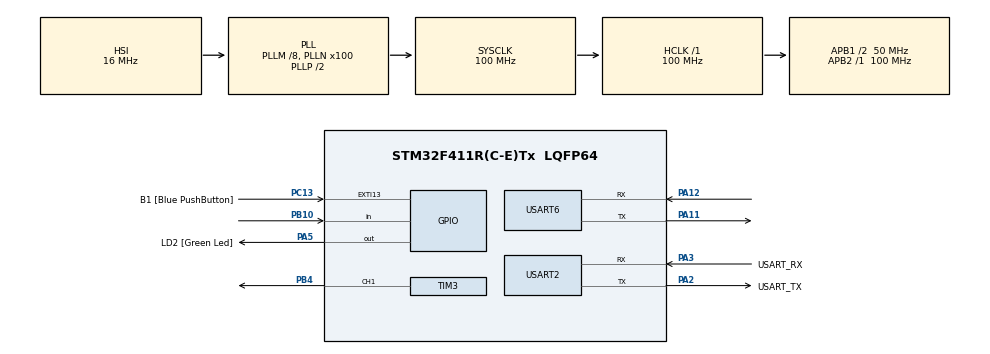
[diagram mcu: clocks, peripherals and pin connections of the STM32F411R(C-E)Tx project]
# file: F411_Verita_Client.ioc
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ADC1.Channel-0\#ChannelRegularConversion=ADC_CHANNEL_TEMPSENSOR
ADC1.ClockPrescaler=ADC_CLOCK_SYNC_PCLK_DIV8
ADC1.ContinuousConvMode=ENABLE
ADC1.DiscontinuousConvMode=DISABLE
ADC1.EOCSelection=ADC_EOC_SEQ_CONV
ADC1.NbrOfConversion=1
ADC1.NbrOfConversionFlag=1
ADC1.Rank-0\#ChannelRegularConversion=1
ADC1.SamplingTime-0\#ChannelRegularConversion=ADC_SAMPLETIME_480CYCLES
ADC1.ScanConvMode=ENABLE
ADC1.master=1
Dma.Request0=USART6_RX
Dma.USART6_RX.0.Direction=DMA_PERIPH_TO_MEMORY
Dma.USART6_RX.0.FIFOMode=DMA_FIFOMODE_DISABLE
Dma.USART6_RX.0.Instance=DMA2_Stream1
Dma.USART6_RX.0.MemDataAlignment=DMA_MDATAALIGN_BYTE
Dma.USART6_RX.0.MemInc=DMA_MINC_ENABLE
Dma.USART6_RX.0.Mode=DMA_CIRCULAR
Dma.USART6_RX.0.PeriphDataAlignment=DMA_PDATAALIGN_BYTE
Dma.USART6_RX.0.PeriphInc=DMA_PINC_DISABLE
Dma.USART6_RX.0.Priority=DMA_PRIORITY_HIGH
Mcu.Family=STM32F4
Mcu.Name=STM32F411R(C-E)Tx
Mcu.Package=LQFP64
NVIC.DMA2_Stream1_IRQn=true\:0\:0\:false\:false\:true\:false\:true\:true
NVIC.EXTI15_10_IRQn=true\:0\:0\:false\:false\:true\:true\:true\:true
NVIC.PriorityGroup=NVIC_PRIORITYGROUP_0
PA11.Mode=Asynchronous
PA11.Signal=USART6_TX
PA12.Mode=Asynchronous
PA12.Signal=USART6_RX
PA13.GPIO_Label=TMS
PA13.Mode=Serial_Wire
PA13.Signal=SYS_JTMS-SWDIO
PA14.GPIO_Label=TCK
PA14.Mode=Serial_Wire
PA14.Signal=SYS_JTCK-SWCLK
PA2.GPIO_Label=USART_TX
PA2.Mode=Asynchronous
PA2.Signal=USART2_TX
PA3.GPIO_Label=USART_RX
PA3.Mode=Asynchronous
PA3.Signal=USART2_RX
PA5.GPIO_Label=LD2 [Green Led]
PA5.Signal=GPIO_Output
PB10.GPIO_PuPd=GPIO_PULLDOWN
PB10.Signal=GPIO_Input
PB3.GPIO_Label=SWO
PB3.Signal=SYS_JTDO-SWO
PB4.Signal=S_TIM3_CH1
PC13-ANTI_TAMP.GPIO_Label=B1 [Blue PushButton]
PC13-ANTI_TAMP.GPIO_ModeDefaultEXTI=GPIO_MODE_IT_FALLING
PC13-ANTI_TAMP.Signal=GPXTI13
PC14-OSC32_IN.Mode=LSE-External-Oscillator
PC14-OSC32_IN.Signal=RCC_OSC32_IN
PC15-OSC32_OUT.Mode=LSE-External-Oscillator
PC15-OSC32_OUT.Signal=RCC_OSC32_OUT
PH0\ -\ OSC_IN.Mode=HSE-External-Clock-Source
PH0\ -\ OSC_IN.Signal=RCC_OSC_IN
PH1\ -\ OSC_OUT.Mode=HSE-External-Clock-Source
PH1\ -\ OSC_OUT.Signal=RCC_OSC_OUT
ProjectManager.HeapSize=0x200
ProjectManager.StackSize=0x400
ProjectManager.TargetToolchain=STM32CubeIDE
RCC.48MHZClocksFreq_Value=50000000
RCC.AHBFreq_Value=100000000
RCC.APB1CLKDivider=RCC_HCLK_DIV2
RCC.APB1Freq_Value=50000000
RCC.APB1TimFreq_Value=100000000
RCC.APB2Freq_Value=100000000
RCC.APB2TimFreq_Value=100000000
RCC.CortexFreq_Value=100000000
RCC.FLatency-AdvancedSettings=FLASH_LATENCY_3
RCC.HCLKFreq_Value=100000000
RCC.HSE_VALUE=8000000
RCC.HSI_VALUE=16000000
RCC.PLLM=8
RCC.PLLN=100
RCC.SYSCLKFreq_VALUE=100000000
RCC.SYSCLKSource=RCC_SYSCLKSOURCE_PLLCLK
RCC.VCOOutputFreq_Value=200000000
SH.S_TIM3_CH1.0=TIM3_CH1,PWM Generation1 CH1
TIM3.AutoReloadPreload=TIM_AUTORELOAD_PRELOAD_ENABLE
TIM3.Channel-PWM\ Generation1\ CH1=TIM_CHANNEL_1
TIM3.Period=9999
TIM3.Prescaler=9999
TIM3.Pulse-PWM\ Generation1\ CH1=5000
USART2.VirtualMode=VM_ASYNC
USART6.VirtualMode=VM_ASYNC
VP_ADC1_TempSens_Input.Mode=IN-TempSens
VP_TIM3_VS_ClockSourceINT.Mode=Internal
board=NUCLEO-F411RE

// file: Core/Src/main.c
/* USER CODE BEGIN Header */
/**
  ******************************************************************************
  * @file           : main.c
  * @brief          : Main program body
  ******************************************************************************
  * @attention
  *
  * Copyright (c) 2023 STMicroelectronics.
  * All rights reserved.
  *
  * This software is licensed under terms that can be found in the LICENSE file
  * in the root directory of this software component.
  * If no LICENSE file comes with this software, it is provided AS-IS.
  *
  ******************************************************************************
  */

  /* ================ FRA506_Independent Study =================================
   * ================ VERITA: Nucleo F411RE Tester ====  --->>>  Client  >>>----
   *
   * Author: owl_hor, FRAB#7 @FIBO KMUTT
   * Advisor: Pittiwut Teerakittikul, Ph.D & Puttinart Archewawanich (AlphaP2712)
   * --------------------------------------------------------------------------
   *  ===== peripheral Usage (Last update: 7 Mar 2023) ===========
   *  - [ADC1]   -> Read MCU's temperature
   *  - [USART6] -> Verita protocol [Master <-> Client]
   *
   * ================ pin GPIO Usage ===========
  */

/* USER CODE END Header */
#include "main.h"

/* USER CODE BEGIN Includes */
#include <stdio.h>
#include <string.h>

#include "gpio_testscript.h"
#include "Verita_PTC.h"
/* USER CODE END Includes */

/* USER CODE BEGIN PD */
#define FIRMWARE_VER 0x13280723 // 01 00 03 23  -- ver day month year 32-bit
//#define TIMx_PWM_En
//#define GPIO_SELFTEST_SC
/* USER CODE END PD */

ADC_HandleTypeDef hadc1;

TIM_HandleTypeDef htim3;

UART_HandleTypeDef huart2;
UART_HandleTypeDef huart6;
DMA_HandleTypeDef hdma_usart6_rx;

/* USER CODE BEGIN PV */
typedef struct{
	ADC_ChannelConfTypeDef Confix;
	uint16_t datt;
}ADCStructure;

ADCStructure ADCChannell[1];

uint16_t cputmpraw = 0;
float cputempCC = 0;

uint8_t bluecounter = 0;
uint8_t counter_flagger = 0; // countif testscript is runned
uint8_t cnt_allpass = 0;
uint32_t timestamp_one = 0;
uint32_t timestamp_selftestdelay = 0;

//// --------- GPIO Read Buffer --------
//uint32_t temp_mode, temp_pupdr;
//uint16_t gpio_C_rd[4] = {0};
//uint32_t gpio_xpupd_rd[4] = {0};
//uint32_t gpio_xopp[3] = {0};
//uint32_t gpio_xood[3] = {0};

uint32_t gpio_rec_mode[3] = {0};
uint32_t gpio_rec_pupdr[3] = {0};

uint8_t flag_gpioselftest = 0;

//// lists All port - pin to inspect first // avoid special pin like osilators / UART
//// GPIO_PIN_x is in bit position format (0 2 4 8 16 ...) which loss if stored in that form and log2() to calculate back
uint16_t List_GPIOA[] = {0,1,    4,5,6,7,8,9,10,            15,  20}; // 2,3 STLK RXTX / 11 12 VRT MTxCL / 13 14 TMS TCK / 9, 10 Master UART_BL High Affect
uint16_t List_GPIOB[] = {0,1,2,  4,5,6,7,8,9,10,   12,13,14,15,  20}; // 11 is Vcap
uint16_t List_GPIOC[] = {0,1,2,3,4,5,6,7,8,9,10,11,12,13,        20};

char WR_A_PUPDR[40] = "\r\nA_PUR: "; ////
char WR_B_PUPDR[40] = "\r\nB_PUR: ";
char WR_C_PUPDR[40] = "\r\nC_PUR: ";
char WR_A_OPP[40]   = "\r\nA_OPP: "; ////
char WR_B_OPP[40]   = "\r\nB_OPP: ";
char WR_C_OPP[40]   = "\r\nC_OPP: ";
char WR_A_OOD[40]   = "\r\nA_OOD: ";
char WR_B_OOD[40]   = "\r\nB_OOD: ";
char WR_C_OOD[40]   = "\r\nC_OOD: ";

//// --------- ============== Verita PTC Register ============== ------------
Verita_Register_Bank VR_Cli;
uint8_t RxBufferMtCl[RxbufferSize_VRT] = {0}; // Recieved packet buffer

VRTPTC_StatusTypedef rslt;

//// ----------------------  UART Buffer  -------------------
char uartTXBf[100] = {0};

//char TxBufferMtCl[50] = {0}; // Sent some results to master
/* USER CODE END PV */

void SystemClock_Config(void);
static void MX_GPIO_Init(void);
static void MX_DMA_Init(void);
static void MX_USART2_UART_Init(void);
static void MX_ADC1_Init(void);
static void MX_TIM3_Init(void);
static void MX_USART6_UART_Init(void);
/* USER CODE BEGIN PFP */
void CPUTemprdINIT();
uint16_t CPUTempread();
float ADCTVolta(uint16_t btt);
float TempEquat(float Vs);

void GPIO_Selftest_step_1_single();
void Compare_pin();
void Compare_pin_32(uint32_t raw32, uint16_t *Lista_GPIOx, uint8_t gpst, char *outchar);
void resetgpio_char();
void CheckAllPass();
//void Tx_UART_Verita_Packet_u8(UART_HandleTypeDef *huart, uint8_t regis,uint8_t *pdata, uint8_t size);
//void Tx_UART_Verita_Packet_u32(UART_HandleTypeDef *huart, uint8_t regis,uint32_t pdata);
/* USER CODE END PFP */

int main(void)
{

  /* MCU Configuration--------------------------------------------------------*/

  /* Reset of all peripherals, Initializes the Flash interface and the Systick. */
  HAL_Init();

  /* Configure the system clock */
  SystemClock_Config();

  /* Initialize all configured peripherals */
  MX_GPIO_Init();
  MX_DMA_Init();
  MX_USART2_UART_Init();
  MX_ADC1_Init();
  MX_TIM3_Init();
  MX_USART6_UART_Init();
  /* USER CODE BEGIN 2 */

  CPUTemprdINIT();

  char temp[]="----------------- F411_Verita_Client --------------------\r\n";
  HAL_UART_Transmit(&huart2, (uint8_t*)temp, strlen(temp),10);

  sprintf(uartTXBf, "Firmware ver: %08X \r\n ", FIRMWARE_VER);
  HAL_UART_Transmit(&huart2, (uint8_t*)uartTXBf, strlen(uartTXBf),10);

  ////  ------------- UART Recieve : Circular DMA here--------------------------
  HAL_UART_Receive_DMA(&huart6, &RxBufferMtCl[0], RxbufferSize_VRT);

  VR_Cli.Mark.FirmwareVer = FIRMWARE_VER;

   //GPIOB->MODER = 0x100680;

//   uint32_t tyyy = GPIOB->MODER;
//   tyyy &= ~( 0b11 << (5 * 2U));
//   tyyy &= ~( 0b11 << (10 * 2U));
//   tyyy |= ( GPIO_MODE_OUTPUT_PP << (5 * 2U));
//   tyyy |= ( GPIO_MODE_OUTPUT_PP << (10 * 2U));
//   GPIOB->MODER = tyyy;

#ifdef TIMx_PWM_En
  HAL_TIM_Base_Start(&htim3);
  HAL_TIM_PWM_Start(&htim3, TIM_CHANNEL_1);
#endif

  /* USER CODE END 2 */

  /* Infinite loop */
  /* USER CODE BEGIN WHILE */
  while (1)
  {

	  //rslt = Rx_Verita_engine(RxBufferMtCl, &VR_Cli);
	  //Tx_Rq_Verita_engine(&huart6, &VR_Cli);
	  ////  ------------- UART Recieve : Normal DMA --------------------------
	  //HAL_UART_Receive_DMA(&huart6, &RxBufferMtCl[0], 9);

	  if(HAL_GetTick() >= timestamp_one){
		  timestamp_one += 1000;

		  HAL_GPIO_TogglePin(LD2_GPIO_Port, LD2_Pin);

		  cputmpraw = CPUTempread();
		  VR_Cli.Mark.cputemp = CPUTempread();

		  cputempCC = TempEquat(ADCTVolta(cputmpraw));

		  sprintf(uartTXBf, "\r\n - - - - - - - - VERITA - - - F411RE - - - - - - - - - - - -\r\n");
		  HAL_UART_Transmit(&huart2, (uint8_t*)uartTXBf, strlen(uartTXBf),10);

		  sprintf(uartTXBf, "cputempraw : %d => %.3f C\r\n ",
				  cputmpraw,
				  cputempCC);
		  HAL_UART_Transmit(&huart2, (uint8_t*)uartTXBf, strlen(uartTXBf),10);

		  //// Print GPIO Test Result
		  if(counter_flagger){
			  if(cnt_allpass >= 9){
				  //// there're 9 pass
				  sprintf(uartTXBf, "\r\n+++ GPIO ALL PASS +++\r\n"); HAL_UART_Transmit(&huart2, (uint8_t*)uartTXBf, strlen(uartTXBf),10);
			  }else{
				  sprintf(uartTXBf, "\r\n--- GPIO unhealthy ---\r\n"); HAL_UART_Transmit(&huart2, (uint8_t*)uartTXBf, strlen(uartTXBf),10);
			  }

			  sprintf(uartTXBf, WR_A_PUPDR); HAL_UART_Transmit(&huart2, (uint8_t*)uartTXBf, strlen(uartTXBf),10);

			  sprintf(uartTXBf, WR_A_OPP); HAL_UART_Transmit(&huart2, (uint8_t*)uartTXBf, strlen(uartTXBf),10);

			  sprintf(uartTXBf, WR_A_OOD); HAL_UART_Transmit(&huart2, (uint8_t*)uartTXBf, strlen(uartTXBf),10);

			  sprintf(uartTXBf, WR_B_PUPDR); HAL_UART_Transmit(&huart2, (uint8_t*)uartTXBf, strlen(uartTXBf),10);

			  sprintf(uartTXBf, WR_B_OPP); HAL_UART_Transmit(&huart2, (uint8_t*)uartTXBf, strlen(uartTXBf),10);

			  sprintf(uartTXBf, WR_B_OOD); HAL_UART_Transmit(&huart2, (uint8_t*)uartTXBf, strlen(uartTXBf),10);

			  sprintf(uartTXBf, WR_C_PUPDR); HAL_UART_Transmit(&huart2, (uint8_t*)uartTXBf, strlen(uartTXBf),10);

			  sprintf(uartTXBf, WR_C_OPP); HAL_UART_Transmit(&huart2, (uint8_t*)uartTXBf, strlen(uartTXBf),10);

			  sprintf(uartTXBf, WR_C_OOD); HAL_UART_Transmit(&huart2, (uint8_t*)uartTXBf, strlen(uartTXBf),10);
		  }

//		  HAL_GPIO_TogglePin(GPIOB, GPIO_PIN_5);
//		  gpio_C_rd[3] = HAL_GPIO_ReadPin(GPIOB, GPIO_PIN_10);
		  //HAL_GPIO_TogglePin(GPIOA, GPIO_PIN_9);

	  }

	  if(flag_gpioselftest){

		  //// ---------- Verita send 1 set --------------------------
//		  static uint8_t gg = 0x66;
//		  static uint8_t rg = 0x03;
//		  uint8_t ggg[4] = {0x00, 0x11, 0x33, gg};
//		  Tx_UART_Verita_Packet_u8(&huart6, rg, ggg, sizeof(ggg));
//
//		  gg++; rg++;
//
//		  Tx_UART_Verita_Packet_u32(&huart6, VR_FWID, (uint32_t)FIRMWARE_VER);
//
//		  Tx_UART_Verita_Packet_u32(&huart6, 0x92, (uint32_t)0x00FF00AA);
//		  Tx_UART_Verita_Packet_u32(&huart6, 0x13, 0x12); //// data request
		  //// ------- old script ------------------

		  //VR_Cli.Mark.Flag_ger = 0x02;
		  //// delay wait for button release
		  if (HAL_GetTick() >= timestamp_selftestdelay){
			  VR_Cli.Mark.Flag_ger = VRF_GPIO_Runalltest;
			  flag_gpioselftest = 0;
		  }

	  }

	  //// Flag run all test
	  if(VR_Cli.Mark.Flag_ger == VRF_GPIO_Runalltest){
		  counter_flagger++;

		  ////record default GPIO setup before modified in testscript
		  gpio_rec_mode[0] = GPIOA->MODER;
		  gpio_rec_pupdr[0] = GPIOA->PUPDR;

		  //// Run GPIO Testscript all here or run before While
		  VR_Cli.Mark.PA_PUPDR = gpio_selftest_input_pupdr_1(GPIOA, List_GPIOA);
		  VR_Cli.Mark.PB_PUPDR = gpio_selftest_input_pupdr_1(GPIOB, List_GPIOB);
		  VR_Cli.Mark.PC_PUPDR = gpio_selftest_input_pupdr_1(GPIOC, List_GPIOC);

		  HAL_Delay(5);

		  VR_Cli.Mark.PA_OUT_PP = gpio_selftest_output_pp_1(GPIOA, List_GPIOA);
		  VR_Cli.Mark.PB_OUT_PP = gpio_selftest_output_pp_1(GPIOB, List_GPIOB);
		  VR_Cli.Mark.PC_OUT_PP = gpio_selftest_output_pp_1(GPIOC, List_GPIOC);

		  HAL_Delay(5);

		  VR_Cli.Mark.PA_OUT_OD = gpio_selftest_output_od_1(GPIOA, List_GPIOA);
		  VR_Cli.Mark.PB_OUT_OD = gpio_selftest_output_od_1(GPIOB, List_GPIOB);
		  VR_Cli.Mark.PC_OUT_OD = gpio_selftest_output_od_1(GPIOC, List_GPIOC);

		  //// revert back, enable to send UART again after crashed in testscript
		  GPIOA->MODER = gpio_rec_mode[0] ;
		  GPIOA->PUPDR = gpio_rec_pupdr[0] ;

		  //// clear previous buffer
		  resetgpio_char();
		  ////Compare_pin()
		  Compare_pin_32(VR_Cli.Mark.PA_PUPDR, List_GPIOA, 0, WR_A_PUPDR);
		  Compare_pin_32(VR_Cli.Mark.PA_OUT_PP, List_GPIOA, 0, WR_A_OPP);
		  Compare_pin_32(VR_Cli.Mark.PA_OUT_OD, List_GPIOA, 0, WR_A_OOD);

		  Compare_pin_32(VR_Cli.Mark.PB_PUPDR, List_GPIOB, 1,  WR_B_PUPDR);
		  Compare_pin_32(VR_Cli.Mark.PB_OUT_PP, List_GPIOB, 1, WR_B_OPP);
		  Compare_pin_32(VR_Cli.Mark.PB_OUT_OD, List_GPIOB, 1, WR_B_OOD);

		  Compare_pin_32(VR_Cli.Mark.PC_PUPDR, List_GPIOC, 2, WR_C_PUPDR);
		  Compare_pin_32(VR_Cli.Mark.PC_OUT_PP, List_GPIOC, 2, WR_C_OPP);
		  Compare_pin_32(VR_Cli.Mark.PC_OUT_OD, List_GPIOC, 2, WR_C_OOD);

		  HAL_Delay(10);

		  CheckAllPass();

//		  uint32_t bbb = 0x12123333;
//		  for(register int i = 1;i < 9;i++){
//			  Tx_UART_Verita_Packet_u32(&huart6, i, bbb);
//			  bbb += 0xFF;
//		  }
		  Tx_UART_Verita_Command(&huart6, VRC_Next, 0x00);
		  VR_Cli.Mark.Flag_ger = VRF_SendALLTestData;

	  }

	  //// SEnd All Data Flag
	  if(VR_Cli.Mark.Flag_ger == VRF_SendALLTestData){

		  Tx_UART_Verita_Packet_u32(&huart6, VR_PA_PUPDR, VR_Cli.Mark.PA_PUPDR);
		  Tx_UART_Verita_Packet_u32(&huart6, VR_PB_PUPDR, VR_Cli.Mark.PB_PUPDR);
		  Tx_UART_Verita_Packet_u32(&huart6, VR_PC_PUPDR, VR_Cli.Mark.PC_PUPDR);

		  HAL_Delay(10);

		  Tx_UART_Verita_Packet_u32(&huart6, VR_PA_OUT_PP, VR_Cli.Mark.PA_OUT_PP);
		  Tx_UART_Verita_Packet_u32(&huart6, VR_PB_OUT_PP, VR_Cli.Mark.PB_OUT_PP);
		  Tx_UART_Verita_Packet_u32(&huart6, VR_PC_OUT_PP, VR_Cli.Mark.PC_OUT_PP);

		  HAL_Delay(10);

		  Tx_UART_Verita_Packet_u32(&huart6, VR_PA_OUT_OD, VR_Cli.Mark.PA_OUT_OD);
		  Tx_UART_Verita_Packet_u32(&huart6, VR_PB_OUT_OD, VR_Cli.Mark.PB_OUT_OD);
		  Tx_UART_Verita_Packet_u32(&huart6, VR_PC_OUT_OD, VR_Cli.Mark.PC_OUT_OD);

		  Tx_UART_Verita_Packet_u32(&huart6, VR_FWID, VR_Cli.Mark.FirmwareVer);

		  HAL_Delay(15);

		  Tx_UART_Verita_Command(&huart6, VRC_Flag_aa, 0xFF);
		  Tx_UART_Verita_Command(&huart6, VRC_Flag_ger, VRF_SendALLTestData);
		  VR_Cli.Mark.Flag_ger = 0;

	  }
    /* USER CODE END WHILE */

  }
}

void SystemClock_Config(void)
{
  RCC_OscInitTypeDef RCC_OscInitStruct = {0};
  RCC_ClkInitTypeDef RCC_ClkInitStruct = {0};

  /** Configure the main internal regulator output voltage
  */
  __HAL_RCC_PWR_CLK_ENABLE();
  __HAL_PWR_VOLTAGESCALING_CONFIG(PWR_REGULATOR_VOLTAGE_SCALE1);

  /** Initializes the RCC Oscillators according to the specified parameters
  * in the RCC_OscInitTypeDef structure.
  */
  RCC_OscInitStruct.OscillatorType = RCC_OSCILLATORTYPE_HSI;
  RCC_OscInitStruct.HSIState = RCC_HSI_ON;
  RCC_OscInitStruct.HSICalibrationValue = RCC_HSICALIBRATION_DEFAULT;
  RCC_OscInitStruct.PLL.PLLState = RCC_PLL_ON;
  RCC_OscInitStruct.PLL.PLLSource = RCC_PLLSOURCE_HSI;
  RCC_OscInitStruct.PLL.PLLM = 8;
  RCC_OscInitStruct.PLL.PLLN = 100;
  RCC_OscInitStruct.PLL.PLLP = RCC_PLLP_DIV2;
  RCC_OscInitStruct.PLL.PLLQ = 4;
  if (HAL_RCC_OscConfig(&RCC_OscInitStruct) != HAL_OK)
  {
    Error_Handler();
  }

  /** Initializes the CPU, AHB and APB buses clocks
  */
  RCC_ClkInitStruct.ClockType = RCC_CLOCKTYPE_HCLK|RCC_CLOCKTYPE_SYSCLK
                              |RCC_CLOCKTYPE_PCLK1|RCC_CLOCKTYPE_PCLK2;
  RCC_ClkInitStruct.SYSCLKSource = RCC_SYSCLKSOURCE_PLLCLK;
  RCC_ClkInitStruct.AHBCLKDivider = RCC_SYSCLK_DIV1;
  RCC_ClkInitStruct.APB1CLKDivider = RCC_HCLK_DIV2;
  RCC_ClkInitStruct.APB2CLKDivider = RCC_HCLK_DIV1;

  if (HAL_RCC_ClockConfig(&RCC_ClkInitStruct, FLASH_LATENCY_3) != HAL_OK)
  {
    Error_Handler();
  }
}

static void MX_ADC1_Init(void)
{

  ADC_ChannelConfTypeDef sConfig = {0};

  /** Configure the global features of the ADC (Clock, Resolution, Data Alignment and number of conversion)
  */
  hadc1.Instance = ADC1;
  hadc1.Init.ClockPrescaler = ADC_CLOCK_SYNC_PCLK_DIV8;
  hadc1.Init.Resolution = ADC_RESOLUTION_12B;
  hadc1.Init.ScanConvMode = ENABLE;
  hadc1.Init.ContinuousConvMode = ENABLE;
  hadc1.Init.DiscontinuousConvMode = DISABLE;
  hadc1.Init.ExternalTrigConvEdge = ADC_EXTERNALTRIGCONVEDGE_NONE;
  hadc1.Init.ExternalTrigConv = ADC_SOFTWARE_START;
  hadc1.Init.DataAlign = ADC_DATAALIGN_RIGHT;
  hadc1.Init.NbrOfConversion = 1;
  hadc1.Init.DMAContinuousRequests = DISABLE;
  hadc1.Init.EOCSelection = ADC_EOC_SEQ_CONV;
  if (HAL_ADC_Init(&hadc1) != HAL_OK)
  {
    Error_Handler();
  }

  /** Configure for the selected ADC regular channel its corresponding rank in the sequencer and its sample time.
  */
  sConfig.Channel = ADC_CHANNEL_TEMPSENSOR;
  sConfig.Rank = 1;
  sConfig.SamplingTime = ADC_SAMPLETIME_480CYCLES;
  if (HAL_ADC_ConfigChannel(&hadc1, &sConfig) != HAL_OK)
  {
    Error_Handler();
  }

}

static void MX_TIM3_Init(void)
{

  TIM_ClockConfigTypeDef sClockSourceConfig = {0};
  TIM_MasterConfigTypeDef sMasterConfig = {0};
  TIM_OC_InitTypeDef sConfigOC = {0};

  htim3.Instance = TIM3;
  htim3.Init.Prescaler = 9999;
  htim3.Init.CounterMode = TIM_COUNTERMODE_UP;
  htim3.Init.Period = 9999;
  htim3.Init.ClockDivision = TIM_CLOCKDIVISION_DIV1;
  htim3.Init.AutoReloadPreload = TIM_AUTORELOAD_PRELOAD_ENABLE;
  if (HAL_TIM_Base_Init(&htim3) != HAL_OK)
  {
    Error_Handler();
  }
  sClockSourceConfig.ClockSource = TIM_CLOCKSOURCE_INTERNAL;
  if (HAL_TIM_ConfigClockSource(&htim3, &sClockSourceConfig) != HAL_OK)
  {
    Error_Handler();
  }
  if (HAL_TIM_PWM_Init(&htim3) != HAL_OK)
  {
    Error_Handler();
  }
  sMasterConfig.MasterOutputTrigger = TIM_TRGO_RESET;
  sMasterConfig.MasterSlaveMode = TIM_MASTERSLAVEMODE_DISABLE;
  if (HAL_TIMEx_MasterConfigSynchronization(&htim3, &sMasterConfig) != HAL_OK)
  {
    Error_Handler();
  }
  sConfigOC.OCMode = TIM_OCMODE_PWM1;
  sConfigOC.Pulse = 5000;
  sConfigOC.OCPolarity = TIM_OCPOLARITY_HIGH;
  sConfigOC.OCFastMode = TIM_OCFAST_DISABLE;
  if (HAL_TIM_PWM_ConfigChannel(&htim3, &sConfigOC, TIM_CHANNEL_1) != HAL_OK)
  {
    Error_Handler();
  }
  HAL_TIM_MspPostInit(&htim3);

}

static void MX_USART2_UART_Init(void)
{

  huart2.Instance = USART2;
  huart2.Init.BaudRate = 115200;
  huart2.Init.WordLength = UART_WORDLENGTH_8B;
  huart2.Init.StopBits = UART_STOPBITS_1;
  huart2.Init.Parity = UART_PARITY_NONE;
  huart2.Init.Mode = UART_MODE_TX_RX;
  huart2.Init.HwFlowCtl = UART_HWCONTROL_NONE;
  huart2.Init.OverSampling = UART_OVERSAMPLING_16;
  if (HAL_UART_Init(&huart2) != HAL_OK)
  {
    Error_Handler();
  }

}

static void MX_USART6_UART_Init(void)
{

  huart6.Instance = USART6;
  huart6.Init.BaudRate = 115200;
  huart6.Init.WordLength = UART_WORDLENGTH_8B;
  huart6.Init.StopBits = UART_STOPBITS_1;
  huart6.Init.Parity = UART_PARITY_NONE;
  huart6.Init.Mode = UART_MODE_TX_RX;
  huart6.Init.HwFlowCtl = UART_HWCONTROL_NONE;
  huart6.Init.OverSampling = UART_OVERSAMPLING_16;
  if (HAL_UART_Init(&huart6) != HAL_OK)
  {
    Error_Handler();
  }

}

static void MX_DMA_Init(void)
{

  /* DMA controller clock enable */
  __HAL_RCC_DMA2_CLK_ENABLE();

  /* DMA interrupt init */
  /* DMA2_Stream1_IRQn interrupt configuration */
  HAL_NVIC_SetPriority(DMA2_Stream1_IRQn, 0, 0);
  HAL_NVIC_EnableIRQ(DMA2_Stream1_IRQn);

}

static void MX_GPIO_Init(void)
{
  GPIO_InitTypeDef GPIO_InitStruct = {0};

  /* GPIO Ports Clock Enable */
  __HAL_RCC_GPIOC_CLK_ENABLE();
  __HAL_RCC_GPIOH_CLK_ENABLE();
  __HAL_RCC_GPIOA_CLK_ENABLE();
  __HAL_RCC_GPIOB_CLK_ENABLE();

  /*Configure GPIO pin Output Level */
  HAL_GPIO_WritePin(LD2_GPIO_Port, LD2_Pin, GPIO_PIN_RESET);

  /*Configure GPIO pin : B1_Pin */
  GPIO_InitStruct.Pin = B1_Pin;
  GPIO_InitStruct.Mode = GPIO_MODE_IT_FALLING;
  GPIO_InitStruct.Pull = GPIO_NOPULL;
  HAL_GPIO_Init(B1_GPIO_Port, &GPIO_InitStruct);

  /*Configure GPIO pin : LD2_Pin */
  GPIO_InitStruct.Pin = LD2_Pin;
  GPIO_InitStruct.Mode = GPIO_MODE_OUTPUT_PP;
  GPIO_InitStruct.Pull = GPIO_NOPULL;
  GPIO_InitStruct.Speed = GPIO_SPEED_FREQ_LOW;
  HAL_GPIO_Init(LD2_GPIO_Port, &GPIO_InitStruct);

  /*Configure GPIO pin : PB10 */
  GPIO_InitStruct.Pin = GPIO_PIN_10;
  GPIO_InitStruct.Mode = GPIO_MODE_INPUT;
  GPIO_InitStruct.Pull = GPIO_PULLDOWN;
  HAL_GPIO_Init(GPIOB, &GPIO_InitStruct);

  /* EXTI interrupt init*/
  HAL_NVIC_SetPriority(EXTI15_10_IRQn, 0, 0);
  HAL_NVIC_EnableIRQ(EXTI15_10_IRQn);

}

/* USER CODE BEGIN 4 */
void CPUTemprdINIT(){
	ADCChannell[0].Confix.Channel = ADC_CHANNEL_TEMPSENSOR;
	ADCChannell[0].Confix.Rank = 1;
	ADCChannell[0].Confix.SamplingTime = ADC_SAMPLETIME_3CYCLES;
}

uint16_t CPUTempread(){
	uint16_t tmpbf;

	HAL_ADC_ConfigChannel(&hadc1, &ADCChannell[0].Confix); //

	HAL_ADC_Start(&hadc1);

	if(HAL_ADC_PollForConversion(&hadc1, 10)==HAL_OK) //10mSec timeout
		{
			//ReadData to confix channel
			tmpbf = HAL_ADC_GetValue(&hadc1);
		}

	HAL_ADC_Stop(&hadc1);

	return tmpbf;
}

float ADCTVolta(uint16_t btt){
	// convert 0-4096 ADC bit -> 0-3.3V
	return (btt /4096.0) * 3.3;
}

float TempEquat(float Vs){
	//Vs = V tmp read , V25= 0.76V, Avg_slope = 2.5 mV
	return ((Vs - 0.76)/(0.0025)) + 25.0; //2.5*0.001
}

void Compare_pin_32(uint32_t raw32, uint16_t *Lista_GPIOx, uint8_t gpst,char *outchar){
	/*  @brief compare uint32_t data given from gpio_testscript then compared to find the same pair
	 * 			(According to the gpio_testscript functions, if the read value of GPIO_input during
	 * 			force output(Push pull, open drain-pullup, Pullup-down)are the same,
	 * 			That pin is suspected to got some problem and need to be inspected)
	 *
	 * 			 and record the suspected pin into char for report in Terminal, display
	 * 	@param raw32       rawuint32_t data given from gpio_testscript functions
	 * 	@param Lista_GPIOx List of GPIOs bank need to be checked
	 * 	@param gpst        select report type [0 - PA_] [1 - PB_] [2 - PC_]
	 * 	@param outchar     char for record the compare result report
	 * */
	uint16_t raw32_N = raw32 & 0xFFFF;
	uint16_t raw32_P = (raw32 >> 16) & 0xFFFF;
	uint8_t iaa, iab, cntr_w = 0;
	char aadd[6];

	for(register int i = 0;i < 16;i++){
		if(Lista_GPIOx[i] >= 20){break;}

		iaa = (raw32_N >> Lista_GPIOx[i]) & 0x01;
		iab = (raw32_P >> Lista_GPIOx[i]) & 0x01;
		 if(iaa == iab){

			 cntr_w++; // count if match

			 //// add problem pin
			 switch(gpst){
			 default:
			 case 0: // A
				 sprintf(aadd, "PA%d", (uint8_t)Lista_GPIOx[i]); //
				 break;
			 case 1: // B
			 	 sprintf(aadd, "PB%d", (uint8_t)Lista_GPIOx[i]); //
			 	 break;
			 case 2: // C
			 	 sprintf(aadd, "PC%d", (uint8_t)Lista_GPIOx[i]); //
			 	 break;

			 }
			 strncat(outchar, aadd, 4);

			 //// add High, Low
			 if(iaa == 1){
				 sprintf(aadd, "_H");
			 }else if(iaa == 0){
				 sprintf(aadd, "_L");
			 }
			 strncat(outchar, aadd, 2);

			 //// add blank
			 sprintf(aadd, " ");
			 strncat(outchar, aadd, 1);
		 }
	}

	if(!cntr_w){
		sprintf(aadd, "_PASS");
		strncat(outchar, aadd, 7);
	}
}

void resetgpio_char(){

	sprintf(WR_A_PUPDR, "\r\nA_PUR: ");
	sprintf(WR_B_PUPDR, "\r\nB_PUR: ");
	sprintf(WR_C_PUPDR, "\r\nC_PUR: ");

	sprintf(WR_A_OPP, "\r\nA_OPP: ");
	sprintf(WR_B_OPP, "\r\nB_OPP: ");
	sprintf(WR_C_OPP, "\r\nC_OPP: ");

	sprintf(WR_A_OOD, "\r\nA_OOD: ");
	sprintf(WR_B_OOD, "\r\nB_OOD: ");
	sprintf(WR_C_OOD, "\r\nC_OOD: ");
}

void CheckAllPass(){
	cnt_allpass = 0; // init reset

	//// lazy Cat cat chekallpass
	////  \r,\n count as 1
	if(WR_A_PUPDR[9] == 95){cnt_allpass++;} //// 95 = "_"
	if(WR_B_PUPDR[9] == 95){cnt_allpass++;}
	if(strlen(WR_C_PUPDR) <= 16 && WR_C_PUPDR[10] == 67){cnt_allpass++;}// PC_13

	if(WR_A_OPP[9] == 95){cnt_allpass++;}
	if(WR_B_OPP[9] == 95){cnt_allpass++;}
	if(WR_C_OPP[9] == 95){cnt_allpass++;}

	if(WR_A_OOD[9] == 95){cnt_allpass++;}
	if(WR_B_OOD[9] == 95){cnt_allpass++;}
	if(WR_C_OOD[9] == 95){cnt_allpass++;}

}
//void GPIO_Selftest_step_1_single(){
//	/* 1 - Input pullup read
//	 * 2 - Input pulldown read
//	 *
//	 * 3 - Output pushpull
//	 * 4 - Output opendrain
//	 *
//	 * 0xA800 0000 | Reset GPIOA_MODER
//	 * 0x6400 0000 | Reset GPIOA_PUPDR
//	 * */
//
//
//	//uint32_t temp_mode, temp_pupdr; //
//	//uint32_t posit = 0x00000001;
//
//	//GPIOC->MODER = 0x00000000U; //
//	//GPIOC->PUPDR = 0x05555555U; //  All pullup
//	//GPIOC->PUPDR = 0x0AAAAAAAU; //  All pulldown
//
//	temp_mode = GPIOC->MODER;
//	temp_pupdr = GPIOC->PUPDR;
//
//	uint8_t sizearr = sizeof(List_GPIOC); // / sizeof(List_GPIOC[0])
//
//
//	//// ------------------ Input PULLUP ------------------------------
//	for(register int i = 0;i < sizearr; i++){
//		temp_mode &= ~( 0b11 << (List_GPIOC[i] * 2U)); // clear only 2 register want to reconfig by shift 11 to prefer position then & it's invert to the previous read
//		temp_mode |= ( GPIO_MODE_INPUT << (List_GPIOC[i] * 2U));
//	}
//	GPIOC->MODER = temp_mode;
//
//
//	for(register int i = 0;i < sizearr; i++){
//		temp_pupdr &= ~( 0b11 << (List_GPIOC[i] * 2U)); // clear only 2 register want to reconfig by shift 11 to prefer position then & it's invert to the previous read
//		temp_pupdr |= ( GPIO_PULLUP << (List_GPIOC[i] * 2U));
//	}
//	GPIOC->PUPDR = temp_pupdr;
//	HAL_Delay(5);
//	gpio_C_rd[0] = GPIOC->IDR;
//
//	//// ------------------ Input PULLDOWN ------------------------------
//	for(register int i = 0;i < sizearr; i++){
//		temp_pupdr &= ~( 0b11 << (List_GPIOC[i] * 2U)); // clear only 2 register want to reconfig by shift 11 to prefer position then & it's invert to the previous read
//		temp_pupdr |= ( GPIO_PULLDOWN << (List_GPIOC[i] * 2U));
//	}
//	GPIOC->PUPDR = temp_pupdr;
//	HAL_Delay(5);
//	gpio_C_rd[1] = GPIOC->IDR;
//
//
//	////temp = GPIOx->PUPDR;
//	////temp &= ~(GPIO_PUPDR_PUPDR0 << (position * 2U));
//	////temp |= ((GPIO_Init->Pull) << (position * 2U));
//	////GPIOx->PUPDR = temp;
//}

//// ----------------GPIO_EXTI_Callback-----------------------------------------

void HAL_GPIO_EXTI_Callback(uint16_t GPIO_Pin){
	if(GPIO_Pin == GPIO_PIN_13){
		bluecounter++;
		bluecounter%=4;

		//VR_Cli.Mark.Flag_ger = VRF_GPIO_Runalltest; // use timestamp delay to trig instead
		flag_gpioselftest = 1;
		timestamp_selftestdelay = HAL_GetTick() + 600;

//		Tx_UART_Verita_Command(&huart6, VRC_Flag_aa, 0xFF);
//		Tx_UART_Verita_Command(&huart6, VRC_Flag_ger, VRF_SendALLTestData);

#ifdef TIMx_PWM_En
		if(bluecounter == 0){
			HAL_TIM_PWM_Start(&htim3, TIM_CHANNEL_1);
			__HAL_TIM_SET_COMPARE(&htim3, TIM_CHANNEL_1, 9000);
		}
		else if(bluecounter == 1){

			__HAL_TIM_SET_COMPARE(&htim3, TIM_CHANNEL_1, 6000);
		}
		else if(bluecounter == 2){
			__HAL_TIM_SET_COMPARE(&htim3, TIM_CHANNEL_1, 3000);
		}
		else if(bluecounter == 3){
			HAL_TIM_PWM_Stop(&htim3, TIM_CHANNEL_1);
		}else{
			__HAL_TIM_SET_COMPARE(&htim3, TIM_CHANNEL_1, 3000);
		}

//		TIM_OC_InitTypeDef sconff;
//		sconff.OCMode = TIM_OCMODE_FORCED_ACTIVE;
//		HAL_TIM_OC_ConfigChannel(&htim3, sconff, TIM_CHANNEL_1);

//// RM0383 p362 OC1M
//// 0b100 - low / 0b101 - high / 0b110 - pWM 1
//		uint32_t trd = TIM3->CCMR1;
//		trd &= ~(0b111 << 4);
//		trd |= ( GPIO_MODE_OUTPUT_PP << 4);

#endif

		}
}

void HAL_UART_RxCpltCallback(UART_HandleTypeDef *huart)
{
	Rx_Verita_engine_callBak(RxBufferMtCl, &VR_Cli); //// try using only 1 slot 9 Buffer
	Tx_Rq_Verita_engine(&huart6, &VR_Cli);
	//HAL_UART_Receive_DMA(&huart6, &RxBufferMtCl[0], 9);
}

/* USER CODE END 4 */

void Error_Handler(void)
{
  __disable_irq();
  while (1)
  {
  }
}
